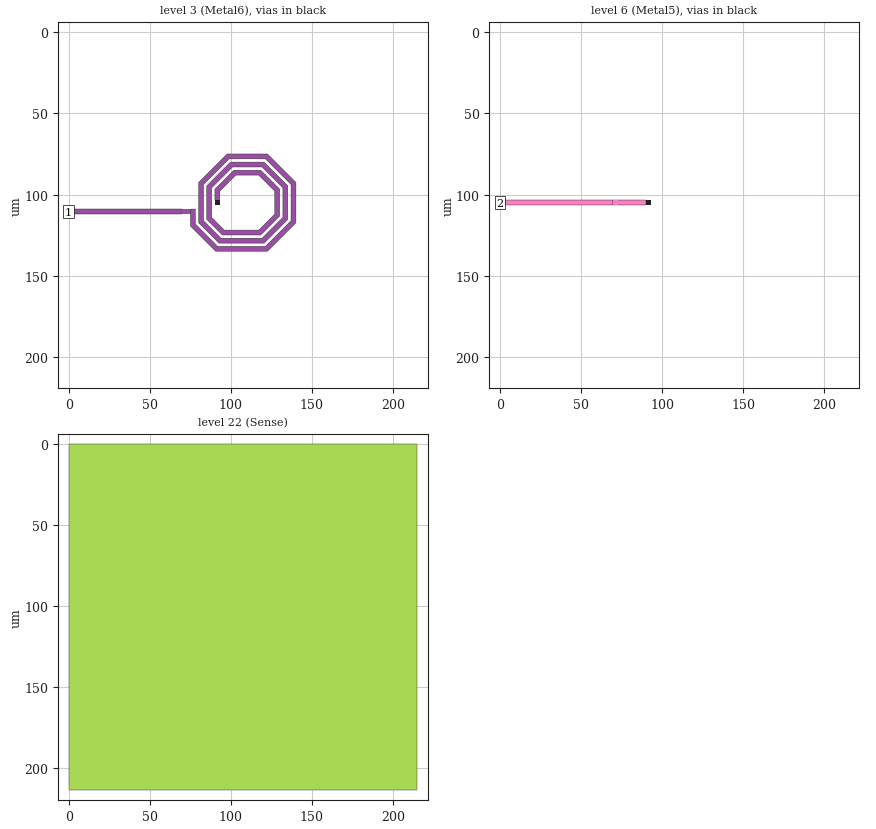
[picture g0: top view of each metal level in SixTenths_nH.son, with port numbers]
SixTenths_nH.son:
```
FTYP SONPROJ 12 ! Sonnet Project File
VER 14.54
HEADER
LIC sonnet9.2.99999
DAT 4/2/2014 11:9:35
BUILT_BY_CREATED example 14.54 11/06/2013 19:21:13
BUILT_BY_SAVED Sonnet Matlab Interface v7.2
MDATE 04/01/2014 14:17:23
HDATE 04/01/2014 14:17:23
END HEADER
DIM
FREQ GHZ
IND NH
LNG UM
ANG DEG
CON /OH
CAP PF
RES OH
END DIM
FREQ
SIMPLE 17  
ABS 0.6 60
END FREQ
CONTROL
SIMPLE
OPTIONS -dj
SPEED 1
CACHE_ABS 1
TARG_ABS 300
Q_ACC Y
END CONTROL
GEO
DRP1 LEFT FIX 69.84
DRP1 BOTTOM FIX 70
TMET "Lossless" 0 SUP 0 0 0 0
BMET "Lossless" 0 SUP 0 0 0 0
MET "Metal3" 4 TMM 23810000 0 0.6 2 
MET "Metal2" 5 TMM 23810000 0 0.6 2 
MET "Metal1" 6 TMM 23810000 0 0.6 2 
MET "Poly" 7 TMM 666700 0 0.2 2 
MET "Metal6" 1 TMM 33330000 0 3 2 
MET "Metal5" 2 TMM 26670000 0 0.75 2 
MET "Metal4" 3 TMM 23810000 0 0.6 2 
MET "Sense" 8 SEN 1000000
MET "Via" 6 VOL 37200000 SOLID 0 
MET "Via_1" 6 ARR 37200000 16 
BOX 23 215 213 430 426 20 0
      3879.05 1 1 0 0 0 0 "air" 
      0.7 7.9 1 0 0 0 0 "ox8b" 
      1 4.2 1 0 0 0 0 "ox8a" 
      3 4.2 1 0 0 0 0 "Metal6" 
      0.2 4.2 1 0 0 0 0 "ox7b" 
      0.6 3.7 1 0 0 0 0 "ox7a" 
      0.75 3.7 1 0 0 0 0 "Metal5" 
      0.2 4.2 1 0 0 0 0 "ox6b" 
      0.6 3.7 1 0 0 0 0 "ox6a" 
      0.6 3.7 1 0 0 0 0 "Metal4" 
      0.2 4.2 1 0 0 0 0 "ox5b" 
      0.6 3.7 1 0 0 0 0 "ox5a" 
      0.6 3.7 1 0 0 0 0 "Metal3" 
      0.2 4.2 1 0 0 0 0 "ox4b" 
      0.6 3.7 1 0 0 0 0 "ox4a" 
      0.6 3.7 1 0 0 0 0 "Metal2" 
      0.2 4.2 1 0 0 0 0 "ox3b" 
      0.6 3.7 1 0 0 0 0 "ox3a" 
      0.6 3.7 1 0 0 0 0 "Metal1" 
      0.5 4 1 0 0 0 0 "ox2a" 
      0.2 4 1 0 0 0 0 "Poly" 
      0.005 3.9 1 0 0 0 0 "ox1b" 
      0.35 3.9 1 0 0 0 0 "ox1a" 
      375 11.7 1 0 0 33.33 0 "Substrate" 
TECHLAY METAL Metal6 Metal6 0 0
3 0 4 V 0 1 1 100 100 0 0 0 Y
END
END
TECHLAY VIA Via5 Via5 0 0
VIA POLYGON
3 0 8 N 0 1 1 100 100 0 0 0 Y
TOLEVEL 6 RING NOCOVERS
END
END
TECHLAY METAL Metal5 Metal5 0 0
6 0 5 V 0 1 1 100 100 0 0 0 Y
END
END
TECHLAY VIA Via4 Via4 0 0
VIA POLYGON
6 0 8 N 0 1 1 100 100 0 0 0 Y
TOLEVEL 9 RING NOCOVERS
END
END
TECHLAY METAL Metal4 Metal4 0 0
9 0 6 V 0 1 1 100 100 0 0 0 Y
END
END
TECHLAY VIA Via3 Via3 0 0
VIA POLYGON
9 0 8 N 0 1 1 100 100 0 0 0 Y
TOLEVEL 12 RING NOCOVERS
END
END
TECHLAY METAL Metal3 Metal3 0 0
12 0 0 V 0 1 1 100 100 0 0 0 Y
END
END
TECHLAY VIA Via2 Via2 0 0
VIA POLYGON
12 0 8 N 0 1 1 100 100 0 0 0 Y
TOLEVEL 15 RING NOCOVERS
END
END
TECHLAY METAL Metal2 Metal2 0 0
15 0 1 V 0 1 1 100 100 0 0 0 Y
END
END
TECHLAY VIA Via1 Via1 0 0
VIA POLYGON
15 0 8 N 0 1 1 100 100 0 0 0 Y
TOLEVEL 18 RING NOCOVERS
END
END
TECHLAY METAL Metal1 Metal1 0 0
18 0 2 V 0 1 1 100 100 0 0 0 Y
END
END
TECHLAY VIA Cont Cont 0 0
VIA POLYGON
18 0 8 N 0 1 1 100 100 0 0 0 Y
TOLEVEL 20 RING NOCOVERS
END
END
TECHLAY METAL Poly Poly 0 0
20 0 3 V 0 1 1 100 100 0 0 0 Y
END
END
TECHLAY METAL Sense <UNSPECIFIED> -2 0
22 0 7 N 143 1 1 5 5 0 0 0 Y
END
END
LORGN 0 213 U
POR1 STD
POLY 24 1
0
1 50 0 0 0 0 110.5
POR1 STD
POLY 38 1
0
2 50 0 0 0 -0.16 105
NUM 15
3 5 4 V 24 1 1 100 100 0 0 0 Y
TLAYNAM Metal6 INH
0 112
0 109
70 109
70 112
0 112
END
3 5 4 V 26 1 1 100 100 0 0 0 Y
TLAYNAM Metal6 INH
73 109
76 109
76 112
73 112
73 109
END
3 5 4 V 27 1 1 100 100 0 0 0 Y
TLAYNAM Metal6 INH
73 112
70 112
70 109
73 109
73 112
END
3 5 4 V 28 1 1 100 100 0 0 0 Y
TLAYNAM Metal6 INH
73 112
70 112
70 109
73 109
73 112
END
3 5 4 V 29 1 1 100 100 0 0 0 Y
TLAYNAM Metal6 INH
73 112
73 109
76 109
76 112
73 112
END
3 5 4 V 30 1 1 100 100 0 0 0 Y
TLAYNAM Metal6 INH
90.19 106.5
90.19 103.5
93.19 103.5
93.19 106.5
90.19 106.5
END
3 5 4 V 89 1 1 100 100 0 0 0 Y
TLAYNAM Metal6 INH
75 112
75 109
78 109
78 112
75 112
END
3 53 4 V 99 1 1 100 100 0 0 0 Y
TLAYNAM Metal6 INH
90.19 103.5
90.19 96.715
101.875 85.03
118.445 85.03
130.13 96.715
130.13 113.285
118.445 124.97
94.785 124.97
85.18 115.365
85.18 94.635
99.795 80.02
120.525 80.02
135.14 94.635
135.14 115.365
120.525 129.98
92.705 129.98
80.17 117.445
80.17 92.555
97.715 75.01
122.605 75.01
140.15 92.555
140.15 117.445
122.605 134.99
90.625 134.99
75.16 119.525
75.16 109
78.16 109
78.16 118.285
91.865 131.99
121.365 131.99
137.15 116.205
137.15 93.795
121.365 78.01
98.955 78.01
83.17 93.795
83.17 116.205
93.945 126.98
119.285 126.98
132.14 114.125
132.14 95.875
119.285 83.02
101.035 83.02
88.18 95.875
88.18 114.125
96.025 121.97
117.205 121.97
127.13 112.045
127.13 97.955
117.205 88.03
103.115 88.03
93.19 97.955
93.19 103.5
90.19 103.5
END
VIA POLYGON
3 5 9 V 33 1 1 100 100 0 0 0 Y
TOLEVEL 6 RING NOCOVERS
TLAYNAM Via5 NOH
93.19 103.5
90.19 103.5
90.19 106.5
93.19 106.5
93.19 103.5
END
6 5 5 V 38 1 1 100 100 0 0 0 Y
TLAYNAM Metal5 INH
-0.16 106.5
-0.16 103.5
69.84 103.5
69.84 106.5
-0.16 106.5
END
6 5 5 V 40 1 1 100 100 0 0 0 Y
TLAYNAM Metal5 INH
93.19 106.5
90.19 106.5
90.19 103.5
93.19 103.5
93.19 106.5
END
6 5 5 V 41 1 1 100 100 0 0 0 Y
TLAYNAM Metal5 INH
90.19 106.5
69.84 106.5
69.84 103.5
90.19 103.5
90.19 106.5
END
6 5 5 V 42 1 1 100 100 0 0 0 Y
TLAYNAM Metal5 INH
72.84 106.5
69.84 106.5
69.84 103.5
72.84 103.5
72.84 106.5
END
6 5 5 V 43 1 1 100 100 0 0 0 Y
TLAYNAM Metal5 INH
90.19 106.5
90.19 103.5
93.19 103.5
93.19 106.5
90.19 106.5
END
22 5 -1 N 142 1 1 100 100 0 0 0 Y
TLAYNAM Sense INH
2.196325877e-06 1.684000913e-07
215.0000097 1.684000913e-07
215.0000097 212.999998
2.196325877e-06 212.999998
2.196325877e-06 1.684000913e-07
END
END GEO
OPT
MAX 100
VARS
END
END OPT
VARSWP
END VARSWP
FILEOUT
END FILEOUT
QSG
IMPORT YES
EXTRA_METAL NO
UNITS NO
ALIGN NO
REF NO
VIEW_RES NO
METALS NO
USED YES
END QSG
INTERFACE
LAYFPAWR 0 -1 -1
LAYFPAWR 1 -1 -1
LAYFPAWR 2 -1 -1
LAYFPAWR 3 -1 -1
LAYFPAWR 4 -1 -1
LAYFPAWR 5 -1 -1
LAYFPAWR 6 -1 -1
LAYFPAWR 7 -1 -1
LAYFPAWR 8 -1 -1
LAYFPAWR 9 -1 -1
LAYFPAWR 10 -1 -1
LAYFPAWR 11 -1 -1
LAYFPAWR 12 -1 -1
LAYFPAWR 13 -1 -1
LAYFPAWR 14 -1 -1
LAYFPAWR 15 -1 -1
LAYFPAWR 16 -1 -1
LAYFPAWR 17 -1 -1
LAYFPAWR 18 -1 -1
LAYFPAWR 19 -1 -1
LAYFPAWR 20 -1 -1
LAYFPAWR 21 -1 -1
LAYFPAWR 22 -1 -1
LAYFPAWR 23 -1 -1
METFPAWR "Metal3" -1
METFPAWR "Metal2" -1
METFPAWR "Metal1" -1
METFPAWR "Poly" -1
METFPAWR "Metal6" -1
METFPAWR "Metal5" -1
METFPAWR "Metal4" -1
METFPAWR "Sense" -1
MESHDFAWR Normal 100 100 1 1 0 0
CDSDATE Jul 16 12:20:24 2012
CDSORIGIN -40.255 34.95
CDSMARGINS 70 70 70 70
CDSEXTRAMARGINS 0 -0.16 0 -0.16
ADSDATE 
ADSORIGIN 0 0
ADSMARGINS 0 0 0 0
ADSEXTRAMARGINS 0 0 0 0
END INTERFACE
```
